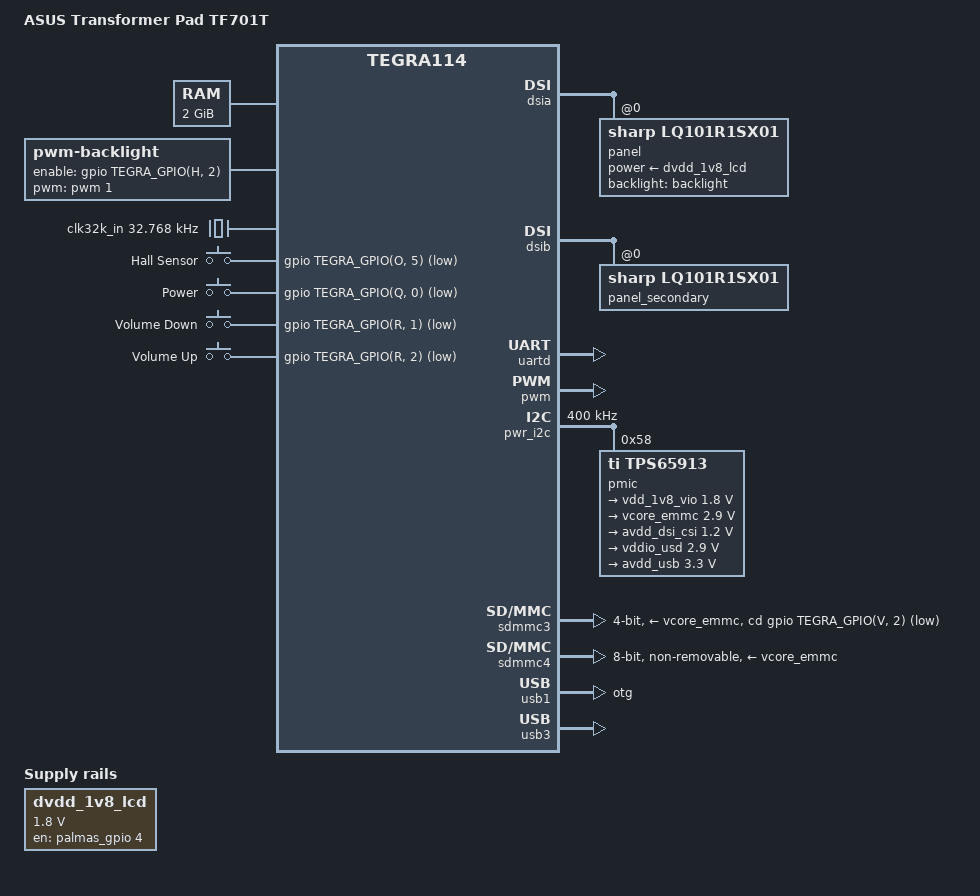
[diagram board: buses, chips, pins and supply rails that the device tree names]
// SPDX-License-Identifier: GPL-2.0
/dts-v1/;

#include <dt-bindings/input/input.h>
#include "tegra114.dtsi"

/ {
	model = "ASUS Transformer Pad TF701T";
	compatible = "asus,tf701t", "nvidia,tegra114";

	chosen {
		stdout-path = &uartd;
	};

	aliases {
		i2c0 = &pwr_i2c;

		mmc0 = &sdmmc4; /* eMMC */
		mmc1 = &sdmmc3; /* uSD slot */

		usb0 = &usb1;
		usb1 = &usb3; /* Dock USB */
	};

	memory {
		device_type = "memory";
		reg = <0x80000000 0x80000000>;
	};

	host1x@50000000 {
		dsia: dsi@54300000 {
			status = "okay";

			avdd-dsi-csi-supply = <&avdd_dsi_csi>;
			nvidia,ganged-mode = <&dsib>;

			panel@0 {
				compatible = "sharp,lq101r1sx01";
				reg = <0>;

				link2 = <&panel_secondary>;

				power-supply = <&dvdd_1v8_lcd>;
				backlight = <&backlight>;
			};
		};

		dsib: dsi@54400000 {
			clocks = <&tegra_car TEGRA114_CLK_DSIB>,
				 <&tegra_car TEGRA114_CLK_DSIBLP>,
				 <&tegra_car TEGRA114_CLK_PLL_D_OUT0>;
			clock-names = "dsi", "lp", "parent";
			status = "okay";

			avdd-dsi-csi-supply = <&avdd_dsi_csi>;

			panel_secondary: panel@0 {
				compatible = "sharp,lq101r1sx01";
				reg = <0>;
			};
		};
	};

	pinmux@70000868 {
		pinctrl-names = "default";
		pinctrl-0 = <&state_default>;

		state_default: pinmux {
			/* WLAN SDIO pinmux */
			sdmmc1-clk {
				nvidia,pins = "sdmmc1_clk_pz0";
				nvidia,function = "sdmmc1";
				nvidia,pull = <TEGRA_PIN_PULL_NONE>;
				nvidia,tristate = <TEGRA_PIN_DISABLE>;
				nvidia,enable-input = <TEGRA_PIN_ENABLE>;
			};
			sdmmc1-cmd {
				nvidia,pins = "sdmmc1_cmd_pz1",
						"sdmmc1_dat0_py7",
						"sdmmc1_dat1_py6",
						"sdmmc1_dat2_py5",
						"sdmmc1_dat3_py4";
				nvidia,function = "sdmmc1";
				nvidia,pull = <TEGRA_PIN_PULL_UP>;
				nvidia,tristate = <TEGRA_PIN_DISABLE>;
				nvidia,enable-input = <TEGRA_PIN_ENABLE>;
			};
			wlan-power {
				nvidia,pins = "clk2_req_pcc5";
				nvidia,function = "rsvd2";
				nvidia,pull = <TEGRA_PIN_PULL_NONE>;
				nvidia,tristate = <TEGRA_PIN_DISABLE>;
				nvidia,enable-input = <TEGRA_PIN_DISABLE>;
			};
			wlan-reset {
				nvidia,pins = "gpio_x7_aud_px7";
				nvidia,function = "rsvd1";
				nvidia,pull = <TEGRA_PIN_PULL_NONE>;
				nvidia,tristate = <TEGRA_PIN_DISABLE>;
				nvidia,enable-input = <TEGRA_PIN_DISABLE>;
			};
			wlan-host-wake {
				nvidia,pins = "pu5";
				nvidia,function = "pwm2";
				nvidia,pull = <TEGRA_PIN_PULL_NONE>;
				nvidia,tristate = <TEGRA_PIN_DISABLE>;
				nvidia,enable-input = <TEGRA_PIN_ENABLE>;
			};
			wlan-3v3-com {
				nvidia,pins = "pu1";
				nvidia,function = "rsvd1";
				nvidia,pull = <TEGRA_PIN_PULL_NONE>;
				nvidia,tristate = <TEGRA_PIN_DISABLE>;
				nvidia,enable-input = <TEGRA_PIN_DISABLE>;
			};

			/* UART-A pinmux */
			uarta-cts {
				nvidia,pins = "kb_row10_ps2";
				nvidia,function = "uarta";
				nvidia,pull = <TEGRA_PIN_PULL_DOWN>;
				nvidia,tristate = <TEGRA_PIN_DISABLE>;
				nvidia,enable-input = <TEGRA_PIN_ENABLE>;
			};
			uarta-rts {
				nvidia,pins = "kb_row9_ps1";
				nvidia,function = "uarta";
				nvidia,pull = <TEGRA_PIN_PULL_NONE>;
				nvidia,tristate = <TEGRA_PIN_DISABLE>;
				nvidia,enable-input = <TEGRA_PIN_DISABLE>;
			};

			/* GNSS UART-B pinmux */
			uartb-cts {
				nvidia,pins = "uart2_cts_n_pj5";
				nvidia,function = "uartb";
				nvidia,pull = <TEGRA_PIN_PULL_UP>;
				nvidia,tristate = <TEGRA_PIN_DISABLE>;
				nvidia,enable-input = <TEGRA_PIN_ENABLE>;
			};
			uartb-rts {
				nvidia,pins = "uart2_rts_n_pj6";
				nvidia,function = "uartb";
				nvidia,pull = <TEGRA_PIN_PULL_NONE>;
				nvidia,tristate = <TEGRA_PIN_DISABLE>;
				nvidia,enable-input = <TEGRA_PIN_DISABLE>;
			};
			uartb-rxd {
				nvidia,pins = "uart2_rxd_pc3";
				nvidia,function = "irda";
				nvidia,pull = <TEGRA_PIN_PULL_UP>;
				nvidia,tristate = <TEGRA_PIN_DISABLE>;
				nvidia,enable-input = <TEGRA_PIN_ENABLE>;
			};
			uartb-txd {
				nvidia,pins = "uart2_txd_pc2";
				nvidia,function = "irda";
				nvidia,pull = <TEGRA_PIN_PULL_NONE>;
				nvidia,tristate = <TEGRA_PIN_DISABLE>;
				nvidia,enable-input = <TEGRA_PIN_DISABLE>;
			};

			/* Bluetooth UART-C pinmux */
			uartc-cts-rxd {
				nvidia,pins = "uart3_cts_n_pa1",
						"uart3_rxd_pw7";
				nvidia,function = "uartc";
				nvidia,pull = <TEGRA_PIN_PULL_UP>;
				nvidia,tristate = <TEGRA_PIN_DISABLE>;
				nvidia,enable-input = <TEGRA_PIN_ENABLE>;
			};
			uartc-rts-txd {
				nvidia,pins = "uart3_rts_n_pc0",
						"uart3_txd_pw6";
				nvidia,function = "uartc";
				nvidia,pull = <TEGRA_PIN_PULL_NONE>;
				nvidia,tristate = <TEGRA_PIN_DISABLE>;
				nvidia,enable-input = <TEGRA_PIN_DISABLE>;
			};
			bt-shutdown {
				nvidia,pins = "kb_col6_pq6",
						"kb_col7_pq7";
				nvidia,function = "rsvd2";
				nvidia,pull = <TEGRA_PIN_PULL_NONE>;
				nvidia,tristate = <TEGRA_PIN_DISABLE>;
				nvidia,enable-input = <TEGRA_PIN_DISABLE>;
			};
			bt-dev-wake {
				nvidia,pins = "clk3_req_pee1";
				nvidia,function = "rsvd2";
				nvidia,pull = <TEGRA_PIN_PULL_NONE>;
				nvidia,tristate = <TEGRA_PIN_DISABLE>;
				nvidia,enable-input = <TEGRA_PIN_DISABLE>;
			};
			bt-host-wake {
				nvidia,pins = "pu6";
				nvidia,function = "pwm3";
				nvidia,pull = <TEGRA_PIN_PULL_NONE>;
				nvidia,tristate = <TEGRA_PIN_DISABLE>;
				nvidia,enable-input = <TEGRA_PIN_ENABLE>;
			};
			bt-pcm-dap4-out {
				nvidia,pins = "dap4_fs_pp4",
						"dap4_dout_pp6",
						"dap4_sclk_pp7";
				nvidia,function = "i2s3";
				nvidia,pull = <TEGRA_PIN_PULL_NONE>;
				nvidia,tristate = <TEGRA_PIN_DISABLE>;
				nvidia,enable-input = <TEGRA_PIN_DISABLE>;
			};
			bt-pcm-dap4-in {
				nvidia,pins = "dap4_din_pp5";
				nvidia,function = "i2s3";
				nvidia,pull = <TEGRA_PIN_PULL_NONE>;
				nvidia,tristate = <TEGRA_PIN_DISABLE>;
				nvidia,enable-input = <TEGRA_PIN_ENABLE>;
			};

			/* UART-D pinmux */
			uartd-cts {
				nvidia,pins = "gmi_a17_pb0";
				nvidia,function = "uartd";
				nvidia,pull = <TEGRA_PIN_PULL_NONE>;
				nvidia,tristate = <TEGRA_PIN_DISABLE>;
				nvidia,enable-input = <TEGRA_PIN_ENABLE>;
			};
			uartd-rts {
				nvidia,pins = "gmi_a16_pj7",
						"gmi_a19_pk7";
				nvidia,function = "uartd";
				nvidia,pull = <TEGRA_PIN_PULL_NONE>;
				nvidia,tristate = <TEGRA_PIN_DISABLE>;
				nvidia,enable-input = <TEGRA_PIN_DISABLE>;
			};

			/* MicroSD pinmux */
			sdmmc3-clk {
				nvidia,pins = "sdmmc3_clk_pa6";
				nvidia,function = "sdmmc3";
				nvidia,pull = <TEGRA_PIN_PULL_NONE>;
				nvidia,tristate = <TEGRA_PIN_DISABLE>;
				nvidia,enable-input = <TEGRA_PIN_ENABLE>;
			};
			sdmmc3-data {
				nvidia,pins = "sdmmc3_cmd_pa7",
						"sdmmc3_dat0_pb7",
						"sdmmc3_dat1_pb6",
						"sdmmc3_dat2_pb5",
						"sdmmc3_dat3_pb4",
						"kb_col4_pq4",
						"sdmmc3_cd_n_pv2",
						"sdmmc3_clk_lb_out_pee4",
						"sdmmc3_clk_lb_in_pee5";
				nvidia,function = "sdmmc3";
				nvidia,pull = <TEGRA_PIN_PULL_UP>;
				nvidia,tristate = <TEGRA_PIN_DISABLE>;
				nvidia,enable-input = <TEGRA_PIN_ENABLE>;
			};
			microsd-pwr {
				nvidia,pins = "gmi_clk_pk1";
				nvidia,function = "gmi";
				nvidia,pull = <TEGRA_PIN_PULL_NONE>;
				nvidia,tristate = <TEGRA_PIN_DISABLE>;
				nvidia,enable-input = <TEGRA_PIN_DISABLE>;
			};

			/* EMMC pinmux */
			sdmmc4-clk-cmd {
				nvidia,pins = "sdmmc4_clk_pcc4";
				nvidia,function = "sdmmc4";
				nvidia,pull = <TEGRA_PIN_PULL_NONE>;
				nvidia,tristate = <TEGRA_PIN_DISABLE>;
				nvidia,enable-input = <TEGRA_PIN_ENABLE>;
			};
			sdmmc4-data {
				nvidia,pins = "sdmmc4_cmd_pt7",
						"sdmmc4_dat0_paa0",
						"sdmmc4_dat1_paa1",
						"sdmmc4_dat2_paa2",
						"sdmmc4_dat3_paa3",
						"sdmmc4_dat4_paa4",
						"sdmmc4_dat5_paa5",
						"sdmmc4_dat6_paa6",
						"sdmmc4_dat7_paa7";
				nvidia,function = "sdmmc4";
				nvidia,pull = <TEGRA_PIN_PULL_UP>;
				nvidia,tristate = <TEGRA_PIN_DISABLE>;
				nvidia,enable-input = <TEGRA_PIN_ENABLE>;
			};

			/* I2C pinmux */
			gen1-i2c {
				nvidia,pins = "gen1_i2c_scl_pc4",
						"gen1_i2c_sda_pc5";
				nvidia,function = "i2c1";
				nvidia,pull = <TEGRA_PIN_PULL_NONE>;
				nvidia,tristate = <TEGRA_PIN_DISABLE>;
				nvidia,enable-input = <TEGRA_PIN_ENABLE>;
				nvidia,open-drain = <TEGRA_PIN_ENABLE>;
				nvidia,lock = <TEGRA_PIN_DISABLE>;
			};
			gen2-i2c {
				nvidia,pins = "gen2_i2c_scl_pt5",
						"gen2_i2c_sda_pt6";
				nvidia,function = "i2c2";
				nvidia,pull = <TEGRA_PIN_PULL_NONE>;
				nvidia,tristate = <TEGRA_PIN_DISABLE>;
				nvidia,enable-input = <TEGRA_PIN_ENABLE>;
				nvidia,open-drain = <TEGRA_PIN_ENABLE>;
				nvidia,lock = <TEGRA_PIN_DISABLE>;
			};
			cam-i2c {
				nvidia,pins = "cam_i2c_scl_pbb1",
						"cam_i2c_sda_pbb2";
				nvidia,function = "i2c3";
				nvidia,pull = <TEGRA_PIN_PULL_NONE>;
				nvidia,tristate = <TEGRA_PIN_DISABLE>;
				nvidia,enable-input = <TEGRA_PIN_ENABLE>;
				nvidia,open-drain = <TEGRA_PIN_ENABLE>;
				nvidia,lock = <TEGRA_PIN_DISABLE>;
			};
			ddc-i2c {
				nvidia,pins = "ddc_scl_pv4",
						"ddc_sda_pv5";
				nvidia,function = "i2c4";
				nvidia,pull = <TEGRA_PIN_PULL_NONE>;
				nvidia,tristate = <TEGRA_PIN_DISABLE>;
				nvidia,enable-input = <TEGRA_PIN_ENABLE>;
				nvidia,lock = <TEGRA_PIN_DISABLE>;
			};
			pwr-i2c {
				nvidia,pins = "pwr_i2c_scl_pz6",
						"pwr_i2c_sda_pz7";
				nvidia,function = "i2cpwr";
				nvidia,pull = <TEGRA_PIN_PULL_NONE>;
				nvidia,tristate = <TEGRA_PIN_DISABLE>;
				nvidia,enable-input = <TEGRA_PIN_ENABLE>;
				nvidia,open-drain = <TEGRA_PIN_ENABLE>;
				nvidia,lock = <TEGRA_PIN_DISABLE>;
			};

			/* SPI pinmux */
			spi1-out {
				nvidia,pins = "ulpi_clk_py0",
						"ulpi_nxt_py2",
						"ulpi_stp_py3";
				nvidia,function = "spi1";
				nvidia,pull = <TEGRA_PIN_PULL_NONE>;
				nvidia,tristate = <TEGRA_PIN_DISABLE>;
				nvidia,enable-input = <TEGRA_PIN_DISABLE>;
			};
			spi1-in {
				nvidia,pins = "ulpi_dir_py1";
				nvidia,function = "spi1";
				nvidia,pull = <TEGRA_PIN_PULL_NONE>;
				nvidia,tristate = <TEGRA_PIN_DISABLE>;
				nvidia,enable-input = <TEGRA_PIN_ENABLE>;
			};
			spi2 {
				nvidia,pins = "ulpi_data4_po5",
						"ulpi_data7_po0";
				nvidia,function = "spi2";
				nvidia,pull = <TEGRA_PIN_PULL_UP>;
				nvidia,tristate = <TEGRA_PIN_DISABLE>;
				nvidia,enable-input = <TEGRA_PIN_ENABLE>;
			};
			spi4-out {
				nvidia,pins = "gmi_ad6_pg6",
						"gmi_wr_n_pi0";
				nvidia,function = "spi4";
				nvidia,pull = <TEGRA_PIN_PULL_NONE>;
				nvidia,tristate = <TEGRA_PIN_DISABLE>;
				nvidia,enable-input = <TEGRA_PIN_DISABLE>;
			};
			spi4-in {
				nvidia,pins = "gmi_ad5_pg5",
						"gmi_ad7_pg7";
				nvidia,function = "spi4";
				nvidia,pull = <TEGRA_PIN_PULL_NONE>;
				nvidia,tristate = <TEGRA_PIN_DISABLE>;
				nvidia,enable-input = <TEGRA_PIN_ENABLE>;
			};

			/* GPIO keys pinmux */
			hall-switch {
				nvidia,pins = "ulpi_data4_po5";
				nvidia,function = "spi2";
				nvidia,pull = <TEGRA_PIN_PULL_UP>;
				nvidia,tristate = <TEGRA_PIN_DISABLE>;
				nvidia,enable-input = <TEGRA_PIN_ENABLE>;
			};
			lineout-switch {
				nvidia,pins = "gpio_x5_aud_px5";
				nvidia,function = "rsvd1";
				nvidia,pull = <TEGRA_PIN_PULL_UP>;
				nvidia,tristate = <TEGRA_PIN_DISABLE>;
				nvidia,enable-input = <TEGRA_PIN_ENABLE>;
			};
			power-key {
				nvidia,pins = "kb_col0_pq0";
				nvidia,function = "kbc";
				nvidia,pull = <TEGRA_PIN_PULL_UP>;
				nvidia,tristate = <TEGRA_PIN_ENABLE>;
				nvidia,enable-input = <TEGRA_PIN_ENABLE>;
			};
			volume-keys {
				nvidia,pins = "kb_row1_pr1",
						"kb_row2_pr2";
				nvidia,function = "rsvd2";
				nvidia,pull = <TEGRA_PIN_PULL_UP>;
				nvidia,tristate = <TEGRA_PIN_ENABLE>;
				nvidia,enable-input = <TEGRA_PIN_ENABLE>;
			};

			/* Sensors pinmux */
			nct-irq {
				nvidia,pins = "ulpi_data3_po4";
				nvidia,function = "ulpi";
				nvidia,pull = <TEGRA_PIN_PULL_UP>;
				nvidia,tristate = <TEGRA_PIN_DISABLE>;
				nvidia,enable-input = <TEGRA_PIN_ENABLE>;
			};
			mpu-irq {
				nvidia,pins = "kb_row3_pr3";
				nvidia,function = "rsvd3";
				nvidia,pull = <TEGRA_PIN_PULL_DOWN>;
				nvidia,tristate = <TEGRA_PIN_DISABLE>;
				nvidia,enable-input = <TEGRA_PIN_ENABLE>;
			};

			/* HDMI pinmux */
			hdmi-hpd {
				nvidia,pins = "hdmi_int_pn7";
				nvidia,function = "rsvd1";
				nvidia,pull = <TEGRA_PIN_PULL_DOWN>;
				nvidia,tristate = <TEGRA_PIN_DISABLE>;
				nvidia,enable-input = <TEGRA_PIN_ENABLE>;
			};
			hdmi-en {
				nvidia,pins = "dap3_dout_pp2";
				nvidia,function = "i2s2";
				nvidia,pull = <TEGRA_PIN_PULL_NONE>;
				nvidia,tristate = <TEGRA_PIN_DISABLE>;
				nvidia,enable-input = <TEGRA_PIN_DISABLE>;
			};
			hdmi-cec {
				nvidia,pins = "hdmi_cec_pee3";
				nvidia,function = "cec";
				nvidia,pull = <TEGRA_PIN_PULL_NONE>;
				nvidia,tristate = <TEGRA_PIN_DISABLE>;
				nvidia,enable-input = <TEGRA_PIN_ENABLE>;
			};

			/* LED pinmux */
			backlight-pwm {
				nvidia,pins = "gmi_ad9_ph1";
				nvidia,function = "pwm1";
				nvidia,pull = <TEGRA_PIN_PULL_NONE>;
				nvidia,tristate = <TEGRA_PIN_DISABLE>;
				nvidia,enable-input = <TEGRA_PIN_DISABLE>;
			};
			backlight-en {
				nvidia,pins = "gmi_ad10_ph2";
				nvidia,function = "gmi";
				nvidia,pull = <TEGRA_PIN_PULL_NONE>;
				nvidia,tristate = <TEGRA_PIN_DISABLE>;
				nvidia,enable-input = <TEGRA_PIN_DISABLE>;
			};

			/* Touchscreen pinmux */
			touch-irq {
				nvidia,pins = "gmi_cs4_n_pk2";
				nvidia,function = "gmi";
				nvidia,pull = <TEGRA_PIN_PULL_NONE>;
				nvidia,tristate = <TEGRA_PIN_DISABLE>;
				nvidia,enable-input = <TEGRA_PIN_ENABLE>;
			};
			touch-rst {
				nvidia,pins = "gmi_cs3_n_pk4";
				nvidia,function = "gmi";
				nvidia,pull = <TEGRA_PIN_PULL_NONE>;
				nvidia,tristate = <TEGRA_PIN_DISABLE>;
				nvidia,enable-input = <TEGRA_PIN_DISABLE>;
			};
			touch-pwr {
				nvidia,pins = "gmi_ad8_ph0";
				nvidia,function = "gmi";
				nvidia,pull = <TEGRA_PIN_PULL_NONE>;
				nvidia,tristate = <TEGRA_PIN_DISABLE>;
				nvidia,enable-input = <TEGRA_PIN_DISABLE>;
			};
			touch-vio {
				nvidia,pins = "gmi_ad12_ph4";
				nvidia,function = "rsvd4";
				nvidia,pull = <TEGRA_PIN_PULL_NONE>;
				nvidia,tristate = <TEGRA_PIN_DISABLE>;
				nvidia,enable-input = <TEGRA_PIN_DISABLE>;
			};

			/* AUDIO pinmux */
			audio-ldo1 {
				nvidia,pins = "sdmmc1_wp_n_pv3";
				nvidia,function = "sdmmc1";
				nvidia,pull = <TEGRA_PIN_PULL_NONE>;
				nvidia,tristate = <TEGRA_PIN_DISABLE>;
				nvidia,enable-input = <TEGRA_PIN_DISABLE>;
			};
			hp-detect {
				nvidia,pins = "kb_row7_pr7";
				nvidia,function = "rsvd2";
				nvidia,pull = <TEGRA_PIN_PULL_UP>;
				nvidia,tristate = <TEGRA_PIN_DISABLE>;
				nvidia,enable-input = <TEGRA_PIN_ENABLE>;
			};
			dap-i2s0-in {
				nvidia,pins = "dap1_din_pn1";
				nvidia,function = "i2s0";
				nvidia,pull = <TEGRA_PIN_PULL_NONE>;
				nvidia,tristate = <TEGRA_PIN_DISABLE>;
				nvidia,enable-input = <TEGRA_PIN_ENABLE>;
			};
			dap-i2s0-out {
				nvidia,pins = "dap1_dout_pn2",
						"dap1_fs_pn0",
						"dap1_sclk_pn3";
				nvidia,function = "i2s0";
				nvidia,pull = <TEGRA_PIN_PULL_NONE>;
				nvidia,tristate = <TEGRA_PIN_DISABLE>;
				nvidia,enable-input = <TEGRA_PIN_DISABLE>;
			};
			dap-i2s1-in {
				nvidia,pins = "dap2_din_pa4";
				nvidia,function = "i2s1";
				nvidia,pull = <TEGRA_PIN_PULL_NONE>;
				nvidia,tristate = <TEGRA_PIN_DISABLE>;
				nvidia,enable-input = <TEGRA_PIN_ENABLE>;
			};
			dap-i2s1-out {
				nvidia,pins = "dap2_dout_pa5",
						"dap2_fs_pa2",
						"dap2_sclk_pa3";
				nvidia,function = "i2s1";
				nvidia,pull = <TEGRA_PIN_PULL_NONE>;
				nvidia,tristate = <TEGRA_PIN_DISABLE>;
				nvidia,enable-input = <TEGRA_PIN_DISABLE>;
			};
			dap-i2s2-in {
				nvidia,pins = "dap3_fs_pp0",
						"dap3_sclk_pp3";
				nvidia,function = "i2s2";
				nvidia,pull = <TEGRA_PIN_PULL_NONE>;
				nvidia,tristate = <TEGRA_PIN_ENABLE>;
				nvidia,enable-input = <TEGRA_PIN_ENABLE>;
			};
			dap-i2s2-out {
				nvidia,pins = "dap3_din_pp1";
				nvidia,function = "i2s2";
				nvidia,pull = <TEGRA_PIN_PULL_NONE>;
				nvidia,tristate = <TEGRA_PIN_DISABLE>;
				nvidia,enable-input = <TEGRA_PIN_DISABLE>;
			};
			spdif-in {
				nvidia,pins = "spdif_in_pk6";
				nvidia,function = "rsvd3";
				nvidia,pull = <TEGRA_PIN_PULL_UP>;
				nvidia,tristate = <TEGRA_PIN_DISABLE>;
				nvidia,enable-input = <TEGRA_PIN_DISABLE>;
			};
			spdif-out {
				nvidia,pins = "spdif_out_pk5";
				nvidia,function = "rsvd2";
				nvidia,pull = <TEGRA_PIN_PULL_DOWN>;
				nvidia,tristate = <TEGRA_PIN_ENABLE>;
				nvidia,enable-input = <TEGRA_PIN_DISABLE>;
			};

			/* AsusEC pinmux */
			ec-irq {
				nvidia,pins = "kb_col5_pq5";
				nvidia,function = "kbc";
				nvidia,pull = <TEGRA_PIN_PULL_UP>;
				nvidia,tristate = <TEGRA_PIN_DISABLE>;
				nvidia,enable-input = <TEGRA_PIN_ENABLE>;
			};
			ec-req {
				nvidia,pins = "kb_col2_pq2";
				nvidia,function = "kbc";
				nvidia,pull = <TEGRA_PIN_PULL_UP>;
				nvidia,tristate = <TEGRA_PIN_DISABLE>;
				nvidia,enable-input = <TEGRA_PIN_DISABLE>;
			};
			hotplug-i2c {
				nvidia,pins = "ulpi_data7_po0";
				nvidia,function = "spi2";
				nvidia,pull = <TEGRA_PIN_PULL_UP>;
				nvidia,tristate = <TEGRA_PIN_DISABLE>;
				nvidia,enable-input = <TEGRA_PIN_ENABLE>;
			};
			ps2-irq {
				nvidia,pins = "gpio_w2_aud_pw2";
				nvidia,function = "spi6";
				nvidia,pull = <TEGRA_PIN_PULL_UP>;
				nvidia,tristate = <TEGRA_PIN_DISABLE>;
				nvidia,enable-input = <TEGRA_PIN_ENABLE>;
			};
			kbd-irq {
				nvidia,pins = "gmi_cs0_n_pj0";
				nvidia,function = "rsvd1";
				nvidia,pull = <TEGRA_PIN_PULL_UP>;
				nvidia,tristate = <TEGRA_PIN_DISABLE>;
				nvidia,enable-input = <TEGRA_PIN_ENABLE>;
			};

			dvfs-pin {
				nvidia,pins = "dvfs_pwm_px0",
						"dvfs_clk_px2";
				nvidia,function = "cldvfs";
				nvidia,pull = <TEGRA_PIN_PULL_NONE>;
				nvidia,tristate = <TEGRA_PIN_DISABLE>;
				nvidia,enable-input = <TEGRA_PIN_DISABLE>;
			};

			/* Core pinmux */
			clk-32k-out {
				nvidia,pins = "clk_32k_out_pa0";
				nvidia,function = "soc";
				nvidia,pull = <TEGRA_PIN_PULL_UP>;
				nvidia,tristate = <TEGRA_PIN_DISABLE>;
				nvidia,enable-input = <TEGRA_PIN_ENABLE>;
			};
			sys-clk-req {
				nvidia,pins = "sys_clk_req_pz5";
				nvidia,function = "sysclk";
				nvidia,pull = <TEGRA_PIN_PULL_NONE>;
				nvidia,tristate = <TEGRA_PIN_DISABLE>;
				nvidia,enable-input = <TEGRA_PIN_DISABLE>;
			};
			core-pwr-req {
				nvidia,pins = "core_pwr_req";
				nvidia,function = "pwron";
				nvidia,pull = <TEGRA_PIN_PULL_NONE>;
				nvidia,tristate = <TEGRA_PIN_DISABLE>;
				nvidia,enable-input = <TEGRA_PIN_DISABLE>;
			};
			cpu-pwr-req {
				nvidia,pins = "cpu_pwr_req";
				nvidia,function = "cpu";
				nvidia,pull = <TEGRA_PIN_PULL_NONE>;
				nvidia,tristate = <TEGRA_PIN_DISABLE>;
				nvidia,enable-input = <TEGRA_PIN_DISABLE>;
			};
			pwr-int-n {
				nvidia,pins = "pwr_int_n";
				nvidia,function = "pmi";
				nvidia,pull = <TEGRA_PIN_PULL_UP>;
				nvidia,tristate = <TEGRA_PIN_DISABLE>;
				nvidia,enable-input = <TEGRA_PIN_ENABLE>;
			};
			clk-32k-in {
				nvidia,pins = "clk_32k_in";
				nvidia,function = "clk";
				nvidia,pull = <TEGRA_PIN_PULL_NONE>;
				nvidia,tristate = <TEGRA_PIN_DISABLE>;
				nvidia,enable-input = <TEGRA_PIN_ENABLE>;
			};
			owr {
				nvidia,pins = "owr";
				nvidia,function = "rsvd2";
				nvidia,pull = <TEGRA_PIN_PULL_DOWN>;
				nvidia,tristate = <TEGRA_PIN_ENABLE>;
				nvidia,enable-input = <TEGRA_PIN_DISABLE>;
			};
			reset-out-n {
				nvidia,pins = "reset_out_n";
				nvidia,function = "reset_out_n";
				nvidia,pull = <TEGRA_PIN_PULL_NONE>;
				nvidia,tristate = <TEGRA_PIN_DISABLE>;
				nvidia,enable-input = <TEGRA_PIN_DISABLE>;
			};

			/* ULPI pinmux */
			ulpi-data0-6 {
				nvidia,pins = "ulpi_data0_po1",
						"ulpi_data6_po7";
				nvidia,function = "ulpi";
				nvidia,pull = <TEGRA_PIN_PULL_NONE>;
				nvidia,tristate = <TEGRA_PIN_DISABLE>;
				nvidia,enable-input = <TEGRA_PIN_ENABLE>;
			};
			ulpi-data1-5 {
				nvidia,pins = "ulpi_data1_po2",
						"ulpi_data5_po6";
				nvidia,function = "ulpi";
				nvidia,pull = <TEGRA_PIN_PULL_NONE>;
				nvidia,tristate = <TEGRA_PIN_ENABLE>;
				nvidia,enable-input = <TEGRA_PIN_ENABLE>;
			};
			ulpi-data2-3 {
				nvidia,pins = "ulpi_data2_po3",
						"ulpi_data3_po4";
				nvidia,function = "ulpi";
				nvidia,pull = <TEGRA_PIN_PULL_UP>;
				nvidia,tristate = <TEGRA_PIN_DISABLE>;
				nvidia,enable-input = <TEGRA_PIN_ENABLE>;
			};

			/* PORT V */
			pv0-gpio {
				nvidia,pins = "pv0";
				nvidia,function = "rsvd2";
				nvidia,pull = <TEGRA_PIN_PULL_UP>;
				nvidia,tristate = <TEGRA_PIN_DISABLE>;
				nvidia,enable-input = <TEGRA_PIN_ENABLE>;
			};
			pv1-gpio {
				nvidia,pins = "pv1";
				nvidia,function = "rsvd1";
				nvidia,pull = <TEGRA_PIN_PULL_UP>;
				nvidia,tristate = <TEGRA_PIN_DISABLE>;
				nvidia,enable-input = <TEGRA_PIN_ENABLE>;
			};

			/* PORT U */
			pu0-gpio {
				nvidia,pins = "pu0";
				nvidia,function = "rsvd3";
				nvidia,pull = <TEGRA_PIN_PULL_NONE>;
				nvidia,tristate = <TEGRA_PIN_DISABLE>;
				nvidia,enable-input = <TEGRA_PIN_DISABLE>;
			};
			pu2-gpio {
				nvidia,pins = "pu2";
				nvidia,function = "rsvd1";
				nvidia,pull = <TEGRA_PIN_PULL_UP>;
				nvidia,tristate = <TEGRA_PIN_DISABLE>;
				nvidia,enable-input = <TEGRA_PIN_ENABLE>;
			};

			/* PWM pinmux */
			pwm0 {
				nvidia,pins = "pu3";
				nvidia,function = "pwm0";
				nvidia,pull = <TEGRA_PIN_PULL_NONE>;
				nvidia,tristate = <TEGRA_PIN_DISABLE>;
				nvidia,enable-input = <TEGRA_PIN_DISABLE>;
			};
			pwm1 {
				nvidia,pins = "pu4";
				nvidia,function = "pwm1";
				nvidia,pull = <TEGRA_PIN_PULL_NONE>;
				nvidia,tristate = <TEGRA_PIN_DISABLE>;
				nvidia,enable-input = <TEGRA_PIN_DISABLE>;
			};

			/* EXTPERIPH pinmux */
			clk1-out {
				nvidia,pins = "clk1_out_pw4";
				nvidia,function = "extperiph1";
				nvidia,pull = <TEGRA_PIN_PULL_NONE>;
				nvidia,tristate = <TEGRA_PIN_DISABLE>;
				nvidia,enable-input = <TEGRA_PIN_DISABLE>;
			};
			clk2-out {
				nvidia,pins = "clk2_out_pw5";
				nvidia,function = "extperiph2";
				nvidia,pull = <TEGRA_PIN_PULL_NONE>;
				nvidia,tristate = <TEGRA_PIN_DISABLE>;
				nvidia,enable-input = <TEGRA_PIN_DISABLE>;
			};
			clk3-out {
				nvidia,pins = "clk3_out_pee0";
				nvidia,function = "extperiph3";
				nvidia,pull = <TEGRA_PIN_PULL_NONE>;
				nvidia,tristate = <TEGRA_PIN_DISABLE>;
				nvidia,enable-input = <TEGRA_PIN_DISABLE>;
			};
			clk1-req {
				nvidia,pins = "clk1_req_pee2";
				nvidia,function = "rsvd3";
				nvidia,pull = <TEGRA_PIN_PULL_DOWN>;
				nvidia,tristate = <TEGRA_PIN_ENABLE>;
				nvidia,enable-input = <TEGRA_PIN_DISABLE>;
			};

			/* GMI pinmux */
			gmi-wp-n {
				nvidia,pins = "gmi_wp_n_pc7";
				nvidia,function = "rsvd1";
				nvidia,pull = <TEGRA_PIN_PULL_NONE>;
				nvidia,tristate = <TEGRA_PIN_ENABLE>;
				nvidia,enable-input = <TEGRA_PIN_ENABLE>;
			};
			gmi-adv {
				nvidia,pins = "gmi_adv_n_pk0";
				nvidia,function = "rsvd1";
				nvidia,pull = <TEGRA_PIN_PULL_UP>;
				nvidia,tristate = <TEGRA_PIN_DISABLE>;
				nvidia,enable-input = <TEGRA_PIN_ENABLE>;
			};
			gmi-ad0-ad1 {
				nvidia,pins = "gmi_ad0_pg0",
						"gmi_ad1_pg1";
				nvidia,function = "rsvd1";
				nvidia,pull = <TEGRA_PIN_PULL_NONE>;
				nvidia,tristate = <TEGRA_PIN_DISABLE>;
				nvidia,enable-input = <TEGRA_PIN_DISABLE>;
			};
			gmi-ad2-ad3 {
				nvidia,pins = "gmi_ad2_pg2",
						"gmi_ad3_pg3";
				nvidia,function = "rsvd1";
				nvidia,pull = <TEGRA_PIN_PULL_NONE>;
				nvidia,tristate = <TEGRA_PIN_DISABLE>;
				nvidia,enable-input = <TEGRA_PIN_ENABLE>;
			};
			gmi-iordy {
				nvidia,pins = "gmi_iordy_pi5";
				nvidia,function = "rsvd2";
				nvidia,pull = <TEGRA_PIN_PULL_UP>;
				nvidia,tristate = <TEGRA_PIN_DISABLE>;
				nvidia,enable-input = <TEGRA_PIN_ENABLE>;
			};
			gmi-a18 {
				nvidia,pins = "gmi_a18_pb1";
				nvidia,function = "rsvd2";
				nvidia,pull = <TEGRA_PIN_PULL_NONE>;
				nvidia,tristate = <TEGRA_PIN_ENABLE>;
				nvidia,enable-input = <TEGRA_PIN_ENABLE>;
			};
			gmi-wait {
				nvidia,pins = "gmi_wait_pi7";
				nvidia,function = "nand";
				nvidia,pull = <TEGRA_PIN_PULL_NONE>;
				nvidia,tristate = <TEGRA_PIN_DISABLE>;
				nvidia,enable-input = <TEGRA_PIN_DISABLE>;
			};
			gmi-cs6-n {
				nvidia,pins = "gmi_cs6_n_pi3";
				nvidia,function = "nand";
				nvidia,pull = <TEGRA_PIN_PULL_DOWN>;
				nvidia,tristate = <TEGRA_PIN_ENABLE>;
				nvidia,enable-input = <TEGRA_PIN_DISABLE>;
			};
			gmi-cs7-n {
				nvidia,pins = "gmi_cs7_n_pi6";
				nvidia,function = "nand";
				nvidia,pull = <TEGRA_PIN_PULL_NONE>;
				nvidia,tristate = <TEGRA_PIN_DISABLE>;
				nvidia,enable-input = <TEGRA_PIN_ENABLE>;
			};
			gmi-dqs-p {
				nvidia,pins = "gmi_dqs_p_pj3";
				nvidia,function = "nand";
				nvidia,pull = <TEGRA_PIN_PULL_NONE>;
				nvidia,tristate = <TEGRA_PIN_ENABLE>;
				nvidia,enable-input = <TEGRA_PIN_ENABLE>;
			};
			gmi-cs2-ad {
				nvidia,pins = "gmi_cs2_n_pk3",
						"gmi_ad14_ph6",
						"gmi_ad15_ph7";
				nvidia,function = "gmi";
				nvidia,pull = <TEGRA_PIN_PULL_NONE>;
				nvidia,tristate = <TEGRA_PIN_ENABLE>;
				nvidia,enable-input = <TEGRA_PIN_ENABLE>;
			};
			gmi-cs4-clk {
				nvidia,pins = "gmi_cs4_n_pk2",
						"gmi_clk_lb";
				nvidia,function = "gmi";
				nvidia,pull = <TEGRA_PIN_PULL_NONE>;
				nvidia,tristate = <TEGRA_PIN_DISABLE>;
				nvidia,enable-input = <TEGRA_PIN_ENABLE>;
			};
			gmi-ad11 {
				nvidia,pins = "gmi_ad11_ph3";
				nvidia,function = "gmi";
				nvidia,pull = <TEGRA_PIN_PULL_NONE>;
				nvidia,tristate = <TEGRA_PIN_DISABLE>;
				nvidia,enable-input = <TEGRA_PIN_DISABLE>;
			};
			gmi-cs1-oe {
				nvidia,pins = "gmi_cs1_n_pj2",
						"gmi_oe_n_pi1";
				nvidia,function = "soc";
				nvidia,pull = <TEGRA_PIN_PULL_UP>;
				nvidia,tristate = <TEGRA_PIN_DISABLE>;
				nvidia,enable-input = <TEGRA_PIN_ENABLE>;
			};
			gmi-ad4 {
				nvidia,pins = "gmi_ad4_pg4";
				nvidia,function = "rsvd4";
				nvidia,pull = <TEGRA_PIN_PULL_NONE>;
				nvidia,tristate = <TEGRA_PIN_DISABLE>;
				nvidia,enable-input = <TEGRA_PIN_ENABLE>;
			};
			gmi-ad13 {
				nvidia,pins = "gmi_ad13_ph5";
				nvidia,function = "rsvd4";
				nvidia,pull = <TEGRA_PIN_PULL_NONE>;
				nvidia,tristate = <TEGRA_PIN_ENABLE>;
				nvidia,enable-input = <TEGRA_PIN_ENABLE>;
			};
			gmi-rst-n {
				nvidia,pins = "gmi_rst_n_pi4";
				nvidia,function = "rsvd4";
				nvidia,pull = <TEGRA_PIN_PULL_NONE>;
				nvidia,tristate = <TEGRA_PIN_DISABLE>;
				nvidia,enable-input = <TEGRA_PIN_DISABLE>;
			};

			/* PORT CC */
			pcc-gpio {
				nvidia,pins = "pcc1", "pcc2";
				nvidia,function = "rsvd2";
				nvidia,pull = <TEGRA_PIN_PULL_DOWN>;
				nvidia,tristate = <TEGRA_PIN_DISABLE>;
				nvidia,enable-input = <TEGRA_PIN_ENABLE>;
			};

			/* PORT BB */
			pbb3-gpio {
				nvidia,pins = "pbb3";
				nvidia,function = "rsvd4";
				nvidia,pull = <TEGRA_PIN_PULL_NONE>;
				nvidia,tristate = <TEGRA_PIN_DISABLE>;
				nvidia,enable-input = <TEGRA_PIN_ENABLE>;
			};
			pbb4-5-6-gpio {
				nvidia,pins = "pbb4", "pbb5", "pbb6";
				nvidia,function = "rsvd4";
				nvidia,pull = <TEGRA_PIN_PULL_NONE>;
				nvidia,tristate = <TEGRA_PIN_DISABLE>;
				nvidia,enable-input = <TEGRA_PIN_DISABLE>;
			};
			pbb7-gpio {
				nvidia,pins = "pbb7";
				nvidia,function = "rsvd2";
				nvidia,pull = <TEGRA_PIN_PULL_NONE>;
				nvidia,tristate = <TEGRA_PIN_DISABLE>;
				nvidia,enable-input = <TEGRA_PIN_DISABLE>;
			};

			/* KBC pinmux */
			kb-r0-c1 {
				nvidia,pins = "kb_row0_pr0",
						"kb_col1_pq1";
				nvidia,function = "rsvd2";
				nvidia,pull = <TEGRA_PIN_PULL_UP>;
				nvidia,tristate = <TEGRA_PIN_DISABLE>;
				nvidia,enable-input = <TEGRA_PIN_ENABLE>;
			};
			kb-row4 {
				nvidia,pins = "kb_row4_pr4";
				nvidia,function = "kbc";
				nvidia,pull = <TEGRA_PIN_PULL_NONE>;
				nvidia,tristate = <TEGRA_PIN_ENABLE>;
				nvidia,enable-input = <TEGRA_PIN_ENABLE>;
			};
			kb-row5 {
				nvidia,pins = "kb_row5_pr5";
				nvidia,function = "kbc";
				nvidia,pull = <TEGRA_PIN_PULL_UP>;
				nvidia,tristate = <TEGRA_PIN_ENABLE>;
				nvidia,enable-input = <TEGRA_PIN_ENABLE>;
			};
			kb-row6 {
				nvidia,pins = "kb_row6_pr6";
				nvidia,function = "kbc";
				nvidia,pull = <TEGRA_PIN_PULL_DOWN>;
				nvidia,tristate = <TEGRA_PIN_DISABLE>;
				nvidia,enable-input = <TEGRA_PIN_ENABLE>;
			};
			kb-r8-c3 {
				nvidia,pins = "kb_row8_ps0",
						"kb_col3_pq3";
				nvidia,function = "kbc";
				nvidia,pull = <TEGRA_PIN_PULL_UP>;
				nvidia,tristate = <TEGRA_PIN_DISABLE>;
				nvidia,enable-input = <TEGRA_PIN_ENABLE>;
			};

			/* VI pinmux */
			cam-mclk {
				nvidia,pins = "cam_mclk_pcc0",
						"pbb0";
				nvidia,function = "vi_alt3";
				nvidia,pull = <TEGRA_PIN_PULL_NONE>;
				nvidia,tristate = <TEGRA_PIN_DISABLE>;
				nvidia,enable-input = <TEGRA_PIN_DISABLE>;
			};

			/* AUD pinmux */
			gpio-x4-aud {
				nvidia,pins = "gpio_x4_aud_px4";
				nvidia,function = "rsvd1";
				nvidia,pull = <TEGRA_PIN_PULL_NONE>;
				nvidia,tristate = <TEGRA_PIN_DISABLE>;
				nvidia,enable-input = <TEGRA_PIN_DISABLE>;
			};
			gpio-x1-aud {
				nvidia,pins = "gpio_x1_aud_px1";
				nvidia,function = "rsvd2";
				nvidia,pull = <TEGRA_PIN_PULL_UP>;
				nvidia,tristate = <TEGRA_PIN_DISABLE>;
				nvidia,enable-input = <TEGRA_PIN_ENABLE>;
			};
			gpio-x3-aud {
				nvidia,pins = "gpio_x3_aud_px3";
				nvidia,function = "rsvd3";
				nvidia,pull = <TEGRA_PIN_PULL_UP>;
				nvidia,tristate = <TEGRA_PIN_DISABLE>;
				nvidia,enable-input = <TEGRA_PIN_ENABLE>;
			};
			gpio-x6-aud {
				nvidia,pins = "gpio_x6_aud_px6";
				nvidia,function = "rsvd4";
				nvidia,pull = <TEGRA_PIN_PULL_UP>;
				nvidia,tristate = <TEGRA_PIN_DISABLE>;
				nvidia,enable-input = <TEGRA_PIN_ENABLE>;
			};

			usb-vbus {
				nvidia,pins = "usb_vbus_en0_pn4",
						"usb_vbus_en1_pn5";
				nvidia,function = "rsvd2";
				nvidia,pull = <TEGRA_PIN_PULL_DOWN>;
				nvidia,tristate = <TEGRA_PIN_ENABLE>;
				nvidia,enable-input = <TEGRA_PIN_DISABLE>;
			};

			/* GPIO power/drive control */
			drive-sdio1 {
				nvidia,pins = "drive_sdio1";
				nvidia,high-speed-mode = <TEGRA_PIN_ENABLE>;
				nvidia,schmitt = <TEGRA_PIN_DISABLE>;
				nvidia,pull-down-strength = <36>;
				nvidia,pull-up-strength = <20>;
				nvidia,slew-rate-rising = <TEGRA_PIN_SLEW_RATE_SLOW>;
				nvidia,slew-rate-falling = <TEGRA_PIN_SLEW_RATE_SLOW>;
			};
			drive-sdio3 {
				nvidia,pins = "drive_sdio3";
				nvidia,high-speed-mode = <TEGRA_PIN_ENABLE>;
				nvidia,schmitt = <TEGRA_PIN_DISABLE>;
				nvidia,pull-down-strength = <22>;
				nvidia,pull-up-strength = <36>;
				nvidia,slew-rate-rising = <TEGRA_PIN_SLEW_RATE_FASTEST>;
				nvidia,slew-rate-falling = <TEGRA_PIN_SLEW_RATE_FASTEST>;
			};
			drive-gma {
				nvidia,pins = "drive_gma";
				nvidia,high-speed-mode = <TEGRA_PIN_ENABLE>;
				nvidia,schmitt = <TEGRA_PIN_DISABLE>;
				nvidia,pull-down-strength = <2>;
				nvidia,pull-up-strength = <2>;
				nvidia,slew-rate-rising = <TEGRA_PIN_SLEW_RATE_FASTEST>;
				nvidia,slew-rate-falling = <TEGRA_PIN_SLEW_RATE_FASTEST>;
			};
		};
	};

	uartd: serial@70006300 {
		status = "okay";
	};

	pwm: pwm@7000a000 {
		status = "okay";
	};

	pwr_i2c: i2c@7000d000 {
		status = "okay";
		clock-frequency = <400000>;

		/* Texas Instruments TPS65913 PMIC */
		pmic: tps65913@58 {
			compatible = "ti,tps65913";
			reg = <0x58>;

			interrupts = <GIC_SPI 86 IRQ_TYPE_LEVEL_HIGH>;
			#interrupt-cells = <2>;
			interrupt-controller;

			ti,system-power-controller;

			palmas_gpio: gpio {
				compatible = "ti,palmas-gpio";
				gpio-controller;
				#gpio-cells = <2>;
			};

			pinmux {
				compatible = "ti,tps65913-pinctrl";
				ti,palmas-enable-dvfs1;

				pinctrl-names = "default";
				pinctrl-0 = <&palmas_default>;

				palmas_default: pinmux {
					pin_gpio4 {
						pins = "gpio4";
						function = "gpio";
					};
				};
			};

			pmic {
				compatible = "ti,tps65913-pmic";

				regulators {
					vdd_1v8_vio: smps8 {
						regulator-name = "vdd_1v8_gen";
						regulator-min-microvolt = <1800000>;
						regulator-max-microvolt = <1800000>;
						regulator-always-on;
						regulator-boot-on;
					};

					vcore_emmc: smps9 {
						regulator-name = "vdd_sdmmc";
						regulator-min-microvolt = <2900000>;
						regulator-max-microvolt = <2900000>;
						regulator-always-on;
						regulator-boot-on;
					};

					avdd_dsi_csi: ldo2 {
						regulator-name = "avdd_dsi_csi";
						regulator-min-microvolt = <1200000>;
						regulator-max-microvolt = <1200000>;
						regulator-boot-on;
					};

					vddio_usd: ldo9 {
						regulator-name = "vddio_sdmmc";
						regulator-min-microvolt = <2900000>;
						regulator-max-microvolt = <2900000>;
						regulator-always-on;
						regulator-boot-on;
					};

					avdd_usb: ldousb {
						regulator-name = "vdd_usb";
						regulator-min-microvolt = <3300000>;
						regulator-max-microvolt = <3300000>;
						regulator-always-on;
						regulator-boot-on;
					};
				};
			};
		};
	};

	sdmmc3: sdhci@78000400 {
		status = "okay";
		bus-width = <4>;

		cd-gpios = <&gpio TEGRA_GPIO(V, 2) GPIO_ACTIVE_LOW>;
		power-gpios = <&gpio TEGRA_GPIO(K, 1) GPIO_ACTIVE_HIGH>;

		nvidia,default-tap = <0x3>;
		nvidia,default-trim = <0x3>;

		vmmc-supply = <&vcore_emmc>;
		vqmmc-supply = <&vddio_usd>;
	};

	sdmmc4: sdhci@78000600 {
		status = "okay";
		bus-width = <8>;
		non-removable;

		vmmc-supply = <&vcore_emmc>;
		vqmmc-supply = <&vdd_1v8_vio>;
	};

	/* USB via ASUS connector */
	usb1: usb@7d000000 {
		status = "okay";
		dr_mode = "otg";
	};

	/* Dock's USB port */
	usb3: usb@7d008000 {
		status = "okay";
	};

	backlight: backlight {
		compatible = "pwm-backlight";

		enable-gpios = <&gpio TEGRA_GPIO(H, 2) GPIO_ACTIVE_HIGH>;
		pwms = <&pwm 1 1000000>;

		brightness-levels = <1 35 70 105 140 175 210 255>;
		default-brightness-level = <5>;
	};

	clk32k_in: clock-32k {
		compatible = "fixed-clock";
		#clock-cells = <0>;
		clock-frequency = <32768>;
		clock-output-names = "ref-oscillator";
	};

	extcon-keys {
		compatible = "gpio-keys";

		switch-hall-sensor {
			label = "Hall Sensor";
			gpios = <&gpio TEGRA_GPIO(O, 5) GPIO_ACTIVE_LOW>;
			linux,code = <SW_LID>;
		};
	};

	gpio-keys {
		compatible = "gpio-keys";

		key-power {
			label = "Power";
			gpios = <&gpio TEGRA_GPIO(Q, 0) GPIO_ACTIVE_LOW>;
			linux,code = <KEY_ENTER>;
		};

		key-volume-down {
			label = "Volume Down";
			gpios = <&gpio TEGRA_GPIO(R, 1) GPIO_ACTIVE_LOW>;
			linux,code = <KEY_DOWN>;
		};

		key-volume-up {
			label = "Volume Up";
			gpios = <&gpio TEGRA_GPIO(R, 2) GPIO_ACTIVE_LOW>;
			linux,code = <KEY_UP>;
		};
	};

	dvdd_1v8_lcd: regulator-lcdvio {
		compatible = "regulator-fixed";
		regulator-name = "dvdd_lcd";
		regulator-min-microvolt = <1800000>;
		regulator-max-microvolt = <1800000>;
		gpio = <&palmas_gpio 4 GPIO_ACTIVE_HIGH>;
		enable-active-high;
	};
};
